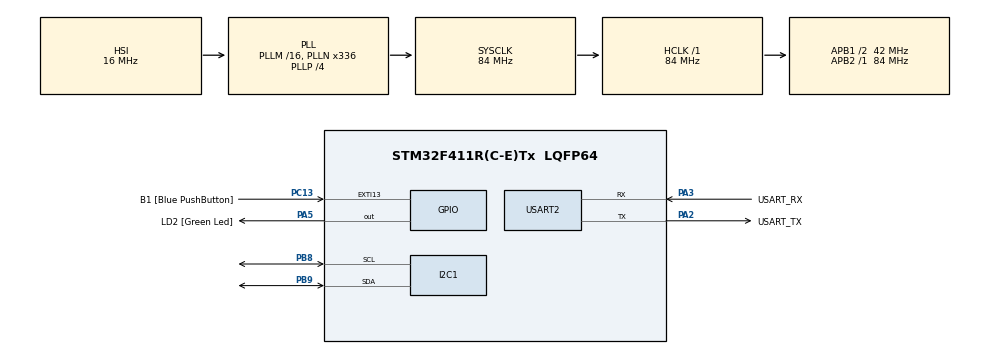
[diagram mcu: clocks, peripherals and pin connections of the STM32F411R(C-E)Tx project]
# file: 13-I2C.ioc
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Mcu.Family=STM32F4
PC15-OSC32_OUT.Mode=LSE-External-Oscillator
RCC.CortexFreq_Value=84000000
NVIC.I2C1_EV_IRQn=true\:0\:0\:false\:false\:true\:true\:true
PC13-ANTI_TAMP.GPIO_Label=B1 [Blue PushButton]
PA14.GPIO_Label=TCK
PH1\ -\ OSC_OUT.Mode=HSE-External-Clock-Source
RCC.APB1CLKDivider=RCC_HCLK_DIV2
PC14-OSC32_IN.Signal=RCC_OSC32_IN
RCC.SYSCLKSource=RCC_SYSCLKSOURCE_PLLCLK
ProjectManager.StackSize=0x400
PA13.Signal=SYS_JTMS-SWDIO
PA3.Mode=Asynchronous
PH0\ -\ OSC_IN.Mode=HSE-External-Clock-Source
PH0\ -\ OSC_IN.Signal=RCC_OSC_IN
ProjectManager.TargetToolchain=STM32CubeIDE
I2C1.I2C_Mode=I2C_Standard
RCC.HCLKFreq_Value=84000000
PB9.Mode=I2C
RCC.APB2TimFreq_Value=84000000
I2C1.AddressingMode=I2C_ADDRESSINGMODE_7BIT
PC15-OSC32_OUT.Signal=RCC_OSC32_OUT
RCC.AHBFreq_Value=84000000
PA5.Signal=GPIO_Output
RCC.HSE_VALUE=8000000
PH1\ -\ OSC_OUT.Signal=RCC_OSC_OUT
board=NUCLEO-F411RE
PC13-ANTI_TAMP.Signal=GPXTI13
RCC.VCOOutputFreq_Value=336000000
RCC.APB2Freq_Value=84000000
PC14-OSC32_IN.Mode=LSE-External-Oscillator
PA14.Mode=Serial_Wire
PA13.Mode=Serial_Wire
NVIC.I2C1_ER_IRQn=true\:0\:0\:false\:false\:true\:true\:true
Mcu.Name=STM32F411R(C-E)Tx
PA2.Signal=USART2_TX
PA13.GPIO_Label=TMS
RCC.FLatency-AdvancedSettings=FLASH_LATENCY_2
RCC.48MHZClocksFreq_Value=84000000
PB3.Signal=SYS_JTDO-SWO
RCC.SYSCLKFreq_VALUE=84000000
Mcu.Package=LQFP64
PB9.Signal=I2C1_SDA
PA5.GPIO_Label=LD2 [Green Led]
USART2.VirtualMode=VM_ASYNC
PC13-ANTI_TAMP.GPIO_ModeDefaultEXTI=GPIO_MODE_IT_FALLING
PA2.GPIO_Label=USART_TX
PA14.Signal=SYS_JTCK-SWCLK
ProjectManager.HeapSize=0x200
RCC.HSI_VALUE=16000000
RCC.PLLP=RCC_PLLP_DIV4
NVIC.PriorityGroup=NVIC_PRIORITYGROUP_0
PB8.Mode=I2C
RCC.PLLN=336
RCC.APB1TimFreq_Value=84000000
PA2.Mode=Asynchronous
PB8.Signal=I2C1_SCL
RCC.APB1Freq_Value=42000000
PA3.GPIO_Label=USART_RX
PA3.Signal=USART2_RX
PB3.GPIO_Label=SWO

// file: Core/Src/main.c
/* USER CODE BEGIN Header */
/**
 ******************************************************************************
 * @file           : main.c
 * @brief          : Main program body
 ******************************************************************************
 * @attention
 *
 * <h2><center>&copy; Copyright (c) 2021 STMicroelectronics.
 * All rights reserved.</center></h2>
 *
 * This software component is licensed by ST under BSD 3-Clause license,
 * the "License"; You may not use this file except in compliance with the
 * License. You may obtain a copy of the License at:
 *                        opensource.org/licenses/BSD-3-Clause
 *
 ******************************************************************************
 */
/* USER CODE END Header */
#include "main.h"

/* USER CODE BEGIN PD */
#define EEPROM_ADDR 0b10100000
#define IOEXPD_ADDR 0b01000000
/* USER CODE END PD */

I2C_HandleTypeDef hi2c1;

UART_HandleTypeDef huart2;

/* USER CODE BEGIN PV */
uint8_t eepromExampleWriteFlag = 0;
uint8_t eepromExampleReadFlag = 0;
uint8_t IOExpdrExampleWriteFlag = 0;
uint8_t IOExpdrExampleReadFlag = 0;
uint8_t eepromDataReadBack[1];
uint8_t IOExpdrDataReadBack;
uint8_t IOExpdrDataWrite = 0b01010101;
uint8_t Miracle_blue_button[2] = {1,1};
uint8_t SystemState = 0;
uint8_t LaserCommandFlag = 0;
/* USER CODE END PV */

void SystemClock_Config(void);
static void MX_GPIO_Init(void);
static void MX_USART2_UART_Init(void);
static void MX_I2C1_Init(void);
/* USER CODE BEGIN PFP */
void EEPROMWriteExample();
void EEPROMReadExample(uint8_t *Rdata, uint16_t len);

void IOExpenderInit();
void IOExpenderReadPinA(uint8_t *Rdata);
void IOExpenderWritePinB(uint8_t Wdata);

/* USER CODE END PFP */

int main(void)
{

  /* MCU Configuration--------------------------------------------------------*/

  /* Reset of all peripherals, Initializes the Flash interface and the Systick. */
  HAL_Init();

  /* Configure the system clock */
  SystemClock_Config();

  /* Initialize all configured peripherals */
  MX_GPIO_Init();
  MX_USART2_UART_Init();
  MX_I2C1_Init();
  /* USER CODE BEGIN 2 */
  HAL_Delay(100);
  IOExpenderInit();

  HAL_I2C_Mem_Read_IT(&hi2c1, EEPROM_ADDR, 0x17, I2C_MEMADD_SIZE_16BIT, eepromDataReadBack , 1);
  HAL_Delay(10);
  {
		uint8_t data = (eepromDataReadBack[0] & 0xff) | 0xf0;
		HAL_I2C_Mem_Write_IT(&hi2c1, IOEXPD_ADDR, 0x15, I2C_MEMADD_SIZE_8BIT,&data, 1);
  }
  HAL_Delay(10);

  /* USER CODE END 2 */

  /* Infinite loop */
  /* USER CODE BEGIN WHILE */
	while (1) {

		Miracle_blue_button[0] = HAL_GPIO_ReadPin(GPIOC, GPIO_PIN_13);
		if ((Miracle_blue_button[0] == 0) && (Miracle_blue_button[1] == 1) && (SystemState == 0) && (hi2c1.State ==HAL_I2C_STATE_READY))
		{

			HAL_I2C_Mem_Read_IT(&hi2c1, IOEXPD_ADDR, 0x12, I2C_MEMADD_SIZE_8BIT, &IOExpdrDataReadBack, 1);   /// Read IOExpdr
			HAL_Delay(10);
			SystemState = 1;
		}
		else if ((SystemState == 1) && (hi2c1.State == HAL_I2C_STATE_READY))
		{
			///write to epprom
			{
				uint8_t data[1];
				data[0] = IOExpdrDataReadBack & 0xff;
				HAL_I2C_Mem_Write_IT(&hi2c1, EEPROM_ADDR, 0x17, I2C_MEMADD_SIZE_16BIT, data, 1);

			}
			HAL_Delay(10);
			SystemState = 2;
		}
		else if ((SystemState == 2) && (hi2c1.State == HAL_I2C_STATE_READY))
		{
			{
				HAL_I2C_Mem_Read_IT(&hi2c1, EEPROM_ADDR, 0x17, I2C_MEMADD_SIZE_16BIT, eepromDataReadBack , 1);
			}
			HAL_Delay(10);
			SystemState = 3;

		}
		else if ((SystemState == 3) && (hi2c1.State == HAL_I2C_STATE_READY))
		{
			{
					uint8_t data = (eepromDataReadBack[0] & 0xff) | 0xf0;
					HAL_I2C_Mem_Write_IT(&hi2c1, IOEXPD_ADDR, 0x15, I2C_MEMADD_SIZE_8BIT,&data, 1);
			}
			HAL_Delay(10);
			SystemState = 0;
		}

		Miracle_blue_button[1] = Miracle_blue_button[0];

//		if ((LaserCommandFlag != 0) && (hi2c1.State == HAL_I2C_STATE_READY))
//			{
//				{
//					uint8_t temp[1] = {0x45};
//					HAL_I2C_Master_Transmit_IT(&hi2c1, 0x23 << 1, temp, 1);
//				}
//				LaserCommandFlag = 0;
//			}

    /* USER CODE END WHILE */

	}
}

void SystemClock_Config(void)
{
  RCC_OscInitTypeDef RCC_OscInitStruct = {0};
  RCC_ClkInitTypeDef RCC_ClkInitStruct = {0};

  /** Configure the main internal regulator output voltage
  */
  __HAL_RCC_PWR_CLK_ENABLE();
  __HAL_PWR_VOLTAGESCALING_CONFIG(PWR_REGULATOR_VOLTAGE_SCALE1);
  /** Initializes the RCC Oscillators according to the specified parameters
  * in the RCC_OscInitTypeDef structure.
  */
  RCC_OscInitStruct.OscillatorType = RCC_OSCILLATORTYPE_HSI;
  RCC_OscInitStruct.HSIState = RCC_HSI_ON;
  RCC_OscInitStruct.HSICalibrationValue = RCC_HSICALIBRATION_DEFAULT;
  RCC_OscInitStruct.PLL.PLLState = RCC_PLL_ON;
  RCC_OscInitStruct.PLL.PLLSource = RCC_PLLSOURCE_HSI;
  RCC_OscInitStruct.PLL.PLLM = 16;
  RCC_OscInitStruct.PLL.PLLN = 336;
  RCC_OscInitStruct.PLL.PLLP = RCC_PLLP_DIV4;
  RCC_OscInitStruct.PLL.PLLQ = 4;
  if (HAL_RCC_OscConfig(&RCC_OscInitStruct) != HAL_OK)
  {
    Error_Handler();
  }
  /** Initializes the CPU, AHB and APB buses clocks
  */
  RCC_ClkInitStruct.ClockType = RCC_CLOCKTYPE_HCLK|RCC_CLOCKTYPE_SYSCLK
                              |RCC_CLOCKTYPE_PCLK1|RCC_CLOCKTYPE_PCLK2;
  RCC_ClkInitStruct.SYSCLKSource = RCC_SYSCLKSOURCE_PLLCLK;
  RCC_ClkInitStruct.AHBCLKDivider = RCC_SYSCLK_DIV1;
  RCC_ClkInitStruct.APB1CLKDivider = RCC_HCLK_DIV2;
  RCC_ClkInitStruct.APB2CLKDivider = RCC_HCLK_DIV1;

  if (HAL_RCC_ClockConfig(&RCC_ClkInitStruct, FLASH_LATENCY_2) != HAL_OK)
  {
    Error_Handler();
  }
}

static void MX_I2C1_Init(void)
{

  hi2c1.Instance = I2C1;
  hi2c1.Init.ClockSpeed = 400000;
  hi2c1.Init.DutyCycle = I2C_DUTYCYCLE_2;
  hi2c1.Init.OwnAddress1 = 0;
  hi2c1.Init.AddressingMode = I2C_ADDRESSINGMODE_7BIT;
  hi2c1.Init.DualAddressMode = I2C_DUALADDRESS_DISABLE;
  hi2c1.Init.OwnAddress2 = 0;
  hi2c1.Init.GeneralCallMode = I2C_GENERALCALL_DISABLE;
  hi2c1.Init.NoStretchMode = I2C_NOSTRETCH_DISABLE;
  if (HAL_I2C_Init(&hi2c1) != HAL_OK)
  {
    Error_Handler();
  }

}

static void MX_USART2_UART_Init(void)
{

  huart2.Instance = USART2;
  huart2.Init.BaudRate = 115200;
  huart2.Init.WordLength = UART_WORDLENGTH_8B;
  huart2.Init.StopBits = UART_STOPBITS_1;
  huart2.Init.Parity = UART_PARITY_NONE;
  huart2.Init.Mode = UART_MODE_TX_RX;
  huart2.Init.HwFlowCtl = UART_HWCONTROL_NONE;
  huart2.Init.OverSampling = UART_OVERSAMPLING_16;
  if (HAL_UART_Init(&huart2) != HAL_OK)
  {
    Error_Handler();
  }

}

static void MX_GPIO_Init(void)
{
  GPIO_InitTypeDef GPIO_InitStruct = {0};

  /* GPIO Ports Clock Enable */
  __HAL_RCC_GPIOC_CLK_ENABLE();
  __HAL_RCC_GPIOH_CLK_ENABLE();
  __HAL_RCC_GPIOA_CLK_ENABLE();
  __HAL_RCC_GPIOB_CLK_ENABLE();

  /*Configure GPIO pin Output Level */
  HAL_GPIO_WritePin(LD2_GPIO_Port, LD2_Pin, GPIO_PIN_RESET);

  /*Configure GPIO pin : B1_Pin */
  GPIO_InitStruct.Pin = B1_Pin;
  GPIO_InitStruct.Mode = GPIO_MODE_IT_FALLING;
  GPIO_InitStruct.Pull = GPIO_NOPULL;
  HAL_GPIO_Init(B1_GPIO_Port, &GPIO_InitStruct);

  /*Configure GPIO pin : LD2_Pin */
  GPIO_InitStruct.Pin = LD2_Pin;
  GPIO_InitStruct.Mode = GPIO_MODE_OUTPUT_PP;
  GPIO_InitStruct.Pull = GPIO_NOPULL;
  GPIO_InitStruct.Speed = GPIO_SPEED_FREQ_LOW;
  HAL_GPIO_Init(LD2_GPIO_Port, &GPIO_InitStruct);

}

/* USER CODE BEGIN 4 */
void EEPROMWriteExample() {
	if (eepromExampleWriteFlag && hi2c1.State == HAL_I2C_STATE_READY) {

		static uint8_t data[4] = { 0xff, 0x00, 0x55, 0xaa };
		HAL_I2C_Mem_Write_IT(&hi2c1, EEPROM_ADDR, 0x17, I2C_MEMADD_SIZE_16BIT,
				data, 4);

		eepromExampleWriteFlag = 0;
	}
}
void EEPROMReadExample(uint8_t *Rdata, uint16_t len) {
	if (eepromExampleReadFlag && hi2c1.State == HAL_I2C_STATE_READY) {

		HAL_I2C_Mem_Read_IT(&hi2c1, EEPROM_ADDR, 0x17, I2C_MEMADD_SIZE_16BIT,
				Rdata, len);
		eepromExampleReadFlag = 0;
	}
}
void IOExpenderInit() {
	//Init All
	static uint8_t Setting[0x16] = { 0xFF, 0x00, 0x00, 0x00, 0x00, 0x00, 0x00,
			0x00, 0x00, 0x00, 0x00, 0x00, 0xFF, 0x00, 0x00, 0x00, 0x00, 0x00,
			0x00, 0x00, 0x00, 0x00 };
	HAL_I2C_Mem_Write(&hi2c1, IOEXPD_ADDR, 0x00, I2C_MEMADD_SIZE_8BIT, Setting,
			0x16, 100);
}
void IOExpenderReadPinA(uint8_t *Rdata) {
	if (IOExpdrExampleReadFlag && hi2c1.State == HAL_I2C_STATE_READY) {
		HAL_I2C_Mem_Read_IT(&hi2c1, IOEXPD_ADDR, 0x12, I2C_MEMADD_SIZE_8BIT,
				Rdata, 1);
		IOExpdrExampleReadFlag =0;
	}
}
void IOExpenderWritePinB(uint8_t Wdata) {
	if (IOExpdrExampleWriteFlag && hi2c1.State == HAL_I2C_STATE_READY) {
		static uint8_t data;
		data = Wdata;
		HAL_I2C_Mem_Write_IT(&hi2c1, IOEXPD_ADDR, 0x15, I2C_MEMADD_SIZE_8BIT,
				&data, 1);
		IOExpdrExampleWriteFlag=0;
	}
}
/* USER CODE END 4 */

void Error_Handler(void)
{
	__disable_irq();
	while (1) {
	}
}

/************************ (C) COPYRIGHT STMicroelectronics *****END OF FILE****/
